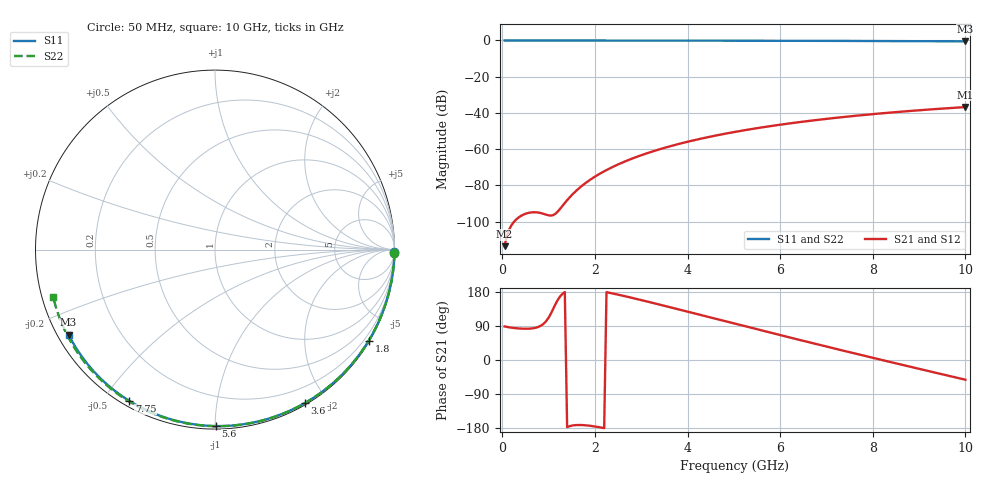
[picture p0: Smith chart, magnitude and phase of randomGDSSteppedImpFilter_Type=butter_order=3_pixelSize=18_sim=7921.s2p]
! freq	dB(S11)	phase(S11)	dB(S12)	phase(S12)
!  dB(S21)	phase(S21)	dB(S22)	phase(S22)
!S-par simulation data
#  GHz  S  DB  R 50
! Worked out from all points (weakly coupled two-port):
!   200 points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, 50 MHz to 10 GHz, reference 50 ohm
!   highest |S21| = -36.75 dB at 10 GHz (marker M1); lowest = -113.5 dB at 50 MHz (marker M2)
!   lowest |S11| = -0.5 dB at 10 GHz (marker M3), VSWR 34.31, Z = 1.56 - j13.4 ohm
!   |S11| at or under -10 dB: nowhere
!   |S22| runs from -0.5 to 0.0 dB; largest |S21 - S12| = 0
!   S11 on the Smith chart (normalised r, x): 50 MHz: open; 1.8 GHz: 0.03, -3.65; 3.6 GHz: 0.02, -1.74; 5.6 GHz: 0.02, -1.01; 7.75 GHz: 0.02, -0.58; 10 GHz: 0.03, -0.27
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0.05  -0.00 -0.9  -113.46 88.6  -113.46 88.6  -0.00 -1.0
0.45  -0.01 -7.8  -96.13 82.6  -96.13 82.6  -0.01 -8.5
0.85  -0.02 -14.6  -95.33 91.9  -95.33 91.9  -0.02 -16.1
1.25  -0.03 -21.4  -92.81 168.0  -92.81 168.0  -0.03 -23.5
1.7  -0.04 -28.9  -80.59 -171.5  -80.59 -171.5  -0.04 -31.8
1.75  -0.04 -29.8  -79.57 -171.8  -79.57 -171.8  -0.04 -32.7
1.8  -0.04 -30.6  -78.60 -172.3  -78.60 -172.3  -0.04 -33.6
2.1  -0.05 -35.6  -73.58 -177.5  -73.58 -177.5  -0.05 -39.1
2.3  -0.05 -38.9  -70.82 177.7  -70.82 177.7  -0.05 -42.7
2.5  -0.05 -42.1  -68.38 172.5  -68.38 172.5  -0.06 -46.2
2.9  -0.06 -48.6  -64.23 161.1  -64.23 161.1  -0.07 -53.3
3.4  -0.08 -56.6  -60.00 146.1  -60.00 146.1  -0.08 -62.0
3.6  -0.08 -59.7  -58.53 140.0  -58.53 140.0  -0.09 -65.4
4.3  -0.10 -70.5  -54.11 118.3  -54.11 118.3  -0.11 -77.1
5.05  -0.13 -81.7  -50.31 95.0  -50.31 95.0  -0.14 -89.2
5.6  -0.15 -89.7  -47.98 78.0  -47.98 78.0  -0.16 -97.9
6.15  -0.17 -97.5  -45.94 61.2  -45.94 61.2  -0.19 -106.3
6.7  -0.20 -105.2  -44.14 44.5  -44.14 44.5  -0.22 -114.6
7.75  -0.28 -119.6  -41.24 13.1  -41.24 13.1  -0.30 -130.2
8.35  -0.33 -127.7  -39.84 -4.5  -39.84 -4.5  -0.36 -139.1
9.2  -0.41 -139.1  -38.12 -29.1  -38.12 -29.1  -0.45 -151.6
10  -0.51 -149.9  -36.75 -52.0  -36.75 -52.0  -0.54 -163.7
